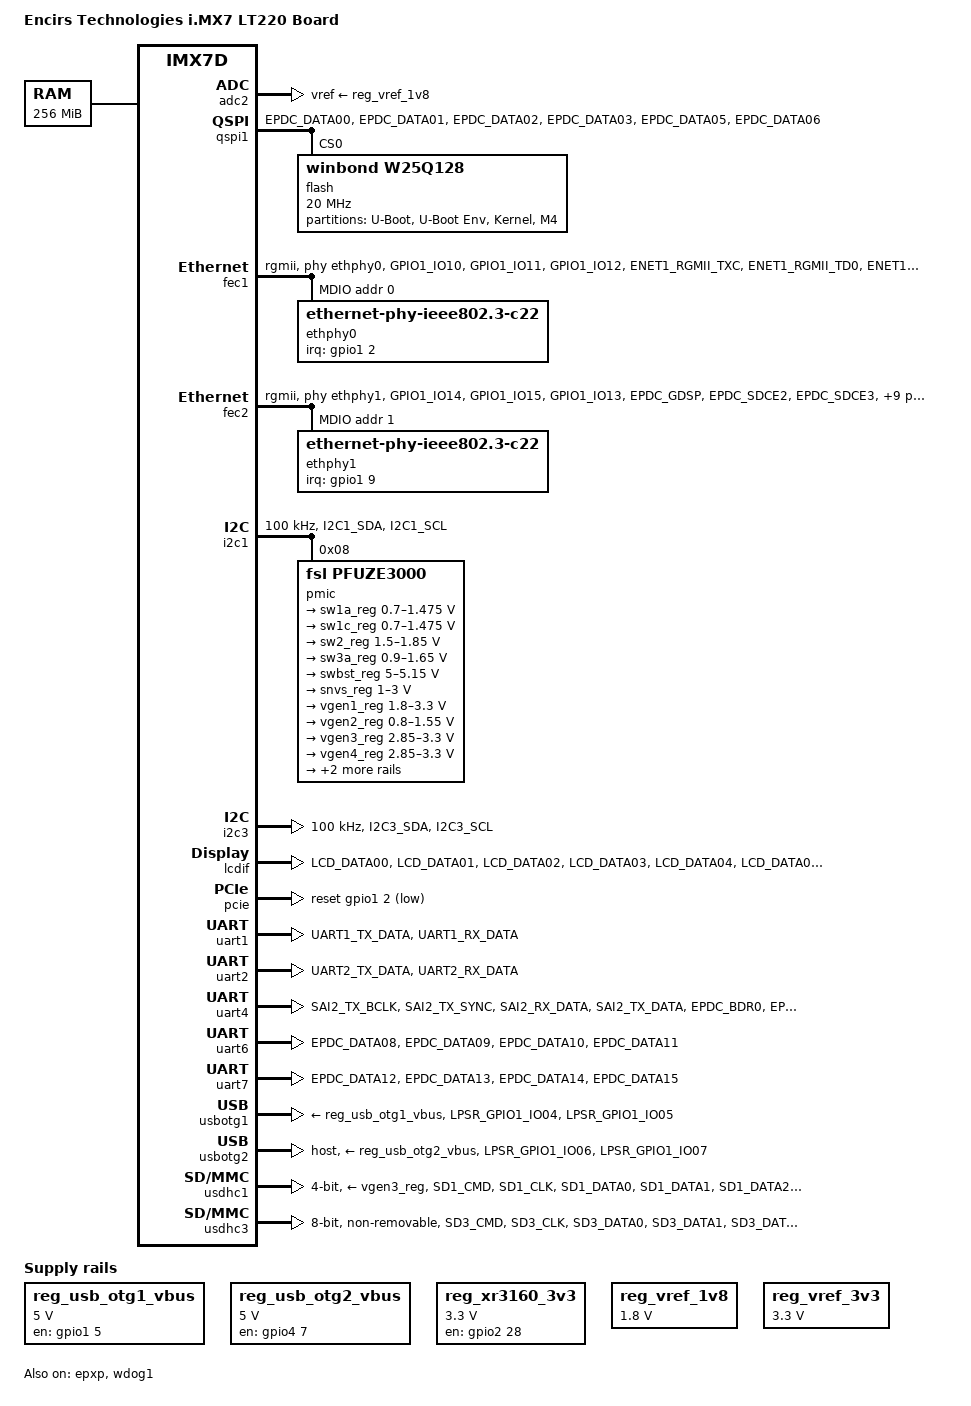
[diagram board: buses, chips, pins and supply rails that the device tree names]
/*
 * Copyright (C) 2017 Enciris Technologies, SAS.
 *
 * This program is free software; you can redistribute it and/or modify
 * it under the terms of the GNU General Public License version 2 as
 * published by the Free Software Foundation.
 */

/dts-v1/;

#include "imx7d.dtsi"

/ {
	model = "Encirs Technologies i.MX7 LT220 Board";
	compatible = "enciris,imx7d-lt220", "fsl,imx7d";

    /* DDR3L: 256MBytes */
	memory {
		reg = <0x80000000 0x10000000>;
	};
	
	regulators {
		compatible = "simple-bus";
		#address-cells = <1>;
		#size-cells = <0>;
		
		/* enable USB OTG1 on SP2526A-1: active high */
		reg_usb_otg1_vbus: regulator@0 {
			compatible = "regulator-fixed";
			reg = <0>;
			regulator-name = "usb_otg1_vbus";
			regulator-min-microvolt = <5000000>;
			regulator-max-microvolt = <5000000>;
			gpio = <&gpio1 5 GPIO_ACTIVE_HIGH>;		/* GPIO1_IO05 - USB_OTG1_PWR */
			enable-active-high;
		};

		/* enable USB OTG2 on SP2526A-1: active high */
		reg_usb_otg2_vbus: regulator@1 {
			compatible = "regulator-fixed";
			reg = <1>;
			regulator-name = "usb_otg2_vbus";
			regulator-min-microvolt = <5000000>;
			regulator-max-microvolt = <5000000>;
			gpio = <&gpio4 7 GPIO_ACTIVE_HIGH>;		/*  GPIO1_IO07 - USB_OTG2_PWR */
			startup-delay-us = <200000>;
			enable-active-high;
		};

		/* enable transceiver XR3160: active high */
		reg_xr3160_3v3: regulator@2 {
		    compatible = "regulator-fixed";
		    regulator-name = "xr3160_3v3";
		    regulator-min-microvolt = <3300000>;
		    regulator-max-microvolt = <3300000>;
		    gpio = <&gpio2 28 GPIO_ACTIVE_HIGH>;	/* GPIO2_IO28 - EPDC_BDR0 - MXU1_SHDW# */
		    enable-active-high;
	   };

		/* supply for adcs on i.MX7D */
		reg_vref_1v8: regulator@3 {
			compatible = "regulator-fixed";
			regulator-name = "vref-1v8";
			regulator-min-microvolt = <1800000>;
			regulator-max-microvolt = <1800000>;
		};

		/* supply for lcd on i.MX7D */
		reg_vref_3v3: regulator@4 {
			compatible = "regulator-fixed";
			regulator-name = "vref-3v3";
			regulator-min-microvolt = <3300000>;
			regulator-max-microvolt = <3300000>;
		};
	};
};

/* analog to digital converter 1: no need to enable */
&adc1 {
	vref-supply = <&reg_vref_1v8>;
	status = "disabled";
};

/* analog to digital converter 2: enable, we have the BAT_MEASURE */
&adc2 {
	vref-supply = <&reg_vref_1v8>;
	status = "okay";
};

/* add supply from PMIC to cpu0 */
&cpu0 {
	arm-supply = <&sw1a_reg>;
};

/* not clear what is this */
&clks {
	assigned-clocks = <&clks IMX7D_PLL_AUDIO_POST_DIV>;
	assigned-clock-rates = <884736000>;
};

/* Pixel Pipeline */
&epxp {
	status = "okay";
};


/* node qspi */
&qspi1 {
	pinctrl-names = "default";
	pinctrl-0 = <&pinctrl_flash>;
	status = "okay";

	flash: m25p80@0 {
		compatible = "winbond,w25q128";
		spi-max-frequency = <20000000>;
		reg = <0>;
		#address-cells = <1>;
		#size-cells = <1>;
		partition@0 {
			label = "U-Boot";
			reg = <0x0 0xC0000>;
			read-only;
		};
		partition@C0000 {
			label = "U-Boot Env";
			reg = <0xC0000 0x2000>;
			read-only;
		};
		partition@C2000 {
			label = "Kernel";
			reg = <0xC2000 0x11e000>;
		};
		partition@1E0000 {
			label = "M4";
			reg = <0x1E0000 0x20000>;
		};
	};
};


/* node fec1 (fast ethernet controller 1) defined on imx7s.dtsi */
&fec1 {
	pinctrl-names = "default";
	pinctrl-0 = <&pinctrl_enet1>;
	phy-reset-gpios = <&gpio1 3 GPIO_ACTIVE_HIGH>;		/* GPIO1_IO03 - ENET_RST_B */
	assigned-clocks = <&clks IMX7D_ENET1_TIME_ROOT_SRC>,
			  <&clks IMX7D_ENET1_TIME_ROOT_CLK>;
	assigned-clock-parents = <&clks IMX7D_PLL_ENET_MAIN_100M_CLK>;
	assigned-clock-rates = <0>, <100000000>;
	phy-mode = "rgmii";
	phy-handle = <&ethphy0>;
	fsl,magic-packet;
	status = "okay";

	mdio {
		#address-cells = <1>;
		#size-cells = <0>;

		ethphy0: ethernet-phy@0 {
			// compatible = "ethernet-phy-id004D.D072";	/* use if phy does not respond */
			compatible = "ethernet-phy-ieee802.3-c22";
			reg = <0>;									/* id number for the phy */
			interrupts-extended = <&gpio1 2 IRQ_TYPE_LEVEL_LOW>;
		};
		
	};
};

/* node fec2 (fast ethernet controller 2) defined on imx7d.dtsi */
&fec2 {
	pinctrl-names = "default";
	pinctrl-0 = <&pinctrl_enet2>;
	assigned-clocks = <&clks IMX7D_ENET2_TIME_ROOT_SRC>,
			  <&clks IMX7D_ENET2_TIME_ROOT_CLK>;
	assigned-clock-parents = <&clks IMX7D_PLL_ENET_MAIN_100M_CLK>;
	assigned-clock-rates = <0>, <100000000>;
	phy-mode = "rgmii";
	phy-handle = <&ethphy1>;
	fsl,magic-packet;
	status = "okay";
	
	mdio {
		#address-cells = <1>;
		#size-cells = <0>;
		
		ethphy1: ethernet-phy@1 {
			// compatible = "ethernet-phy-id004D.D072";	/* use if phy does not respond */
			compatible = "ethernet-phy-ieee802.3-c22";
			reg = <1>;									/* id number for the phy */
			interrupts-extended = <&gpio1 9 IRQ_TYPE_LEVEL_LOW>;
		};

	};
};


/* only PMIC on i2c1 */
&i2c1 {
	clock-frequency = <100000>;
	pinctrl-names = "default";
	pinctrl-0 = <&pinctrl_i2c1>;
	status = "okay";

	pmic: pfuze3000@08 {
		compatible = "fsl,pfuze3000";
		reg = <0x08>;

		regulators {
			sw1a_reg: sw1a {
				regulator-min-microvolt = <700000>;
				regulator-max-microvolt = <1475000>;
				regulator-boot-on;
				regulator-always-on;
				regulator-ramp-delay = <6250>;
			};

			/* use sw1c_reg to align with pfuze100/pfuze200 */
			sw1c_reg: sw1b {
				regulator-min-microvolt = <700000>;
				regulator-max-microvolt = <1475000>;
				regulator-boot-on;
				regulator-always-on;
				regulator-ramp-delay = <6250>;
			};

			sw2_reg: sw2 {
				regulator-min-microvolt = <1500000>;
				regulator-max-microvolt = <1850000>;
				regulator-boot-on;
				regulator-always-on;
			};

			sw3a_reg: sw3 {
				regulator-min-microvolt = <900000>;
				regulator-max-microvolt = <1650000>;
				regulator-boot-on;
				regulator-always-on;
			};

			swbst_reg: swbst {
				regulator-min-microvolt = <5000000>;
				regulator-max-microvolt = <5150000>;
			};

			snvs_reg: vsnvs {
				regulator-min-microvolt = <1000000>;
				regulator-max-microvolt = <3000000>;
				regulator-boot-on;
				regulator-always-on;
			};

			vref_reg: vrefddr {
				regulator-boot-on;
				regulator-always-on;
			};

			vgen1_reg: vldo1 {
				regulator-min-microvolt = <1800000>;
				regulator-max-microvolt = <3300000>;
				regulator-always-on;
			};

			vgen2_reg: vldo2 {
				regulator-min-microvolt = <800000>;
				regulator-max-microvolt = <1550000>;
				regulator-always-on;
			};

			vgen3_reg: vccsd {
				regulator-min-microvolt = <2850000>;
				regulator-max-microvolt = <3300000>;
				regulator-always-on;
			};

			vgen4_reg: v33 {
				regulator-min-microvolt = <2850000>;
				regulator-max-microvolt = <3300000>;
				regulator-always-on;
			};

			vgen5_reg: vldo3 {
				regulator-min-microvolt = <1800000>;
				regulator-max-microvolt = <3300000>;
				regulator-always-on;
			};

			vgen6_reg: vldo4 {
				regulator-min-microvolt = <1800000>;
				regulator-max-microvolt = <3300000>;
				regulator-always-on;
			};
		};
	};
};

/* status = disabled - not used on LT220 */
&i2c2 {
	clock-frequency = <100000>;
	pinctrl-names = "default";
	pinctrl-0 = <&pinctrl_i2c2>;
	status = "disabled";
};

/* DDC from HDMI connector on i2c3 */
&i2c3 {
	clock-frequency = <100000>;
	pinctrl-names = "default";
	pinctrl-0 = <&pinctrl_i2c3>;
	status = "okay";
};

/* status = disabled - not used on LT220 */
&i2c4 {
	clock-frequency = <100000>;
	pinctrl-names = "default";
	pinctrl-0 = <&pinctrl_i2c4>;
	status = "disabled";
};

/* may need to be changed to adpat to FPGA ECP3-150 */
&lcdif {
	pinctrl-names = "default";
	pinctrl-0 = <&pinctrl_lcdif_dat
		     &pinctrl_lcdif_ctrl>;
	lcd-supply = <&reg_vref_3v3>;
	display = <&display0>;
	status = "okay";

	display0: display {
		bits-per-pixel = <16>;
		bus-width = <24>;

		display-timings {
			native-mode = <&timing0>;
			timing0: timing0 {
			clock-frequency = <9200000>;
			hactive = <480>;
			vactive = <272>;
			hfront-porch = <8>;
			hback-porch = <4>;
			hsync-len = <41>;
			vback-porch = <2>;
			vfront-porch = <4>;
			vsync-len = <10>;

			hsync-active = <0>;
			vsync-active = <0>;
			de-active = <1>;
			pixelclk-active = <0>;
			};
		};
	};
};


/* PCIe */
&pcie {
	pinctrl-names = "default";
	reset-gpio = <&gpio1 2 GPIO_ACTIVE_LOW>;
	status = "okay";
};


/* Smart Direct Memory Access SDMA */
&sdma {
	status = "okay";
};


/* debug UART for Cortex-A7 */
&uart1 {
	pinctrl-names = "default";
	pinctrl-0 = <&pinctrl_uart1>;
	assigned-clocks = <&clks IMX7D_UART1_ROOT_SRC>;
	assigned-clock-parents = <&clks IMX7D_OSC_24M_CLK>;
	status = "okay";
};

/* debug UART for Cortex-M4 - general purpose UART */
&uart2 {
	pinctrl-names = "default";
	pinctrl-0 = <&pinctrl_uart2>;
	assigned-clocks = <&clks IMX7D_UART2_ROOT_SRC>;
	assigned-clock-parents = <&clks IMX7D_OSC_24M_CLK>;
	status = "okay";
};

/* rs232 / rs485 / rs422 for */
&uart4 {
	pinctrl-names = "default";
	pinctrl-0 = <&pinctrl_uart4>;
	assigned-clocks = <&clks IMX7D_UART4_ROOT_SRC>;
	assigned-clock-parents = <&clks IMX7D_PLL_SYS_MAIN_240M_CLK>;
	fsl,uart-has-rtscts;
	status = "okay";
};

/* connected to FT230X - UART-USB */
&uart6 {
	pinctrl-names = "default";
	pinctrl-0 = <&pinctrl_uart6>;
	assigned-clocks = <&clks IMX7D_UART6_ROOT_SRC>;
	assigned-clock-parents = <&clks IMX7D_PLL_SYS_MAIN_240M_CLK>;
	fsl,uart-has-rtscts;
	status = "okay";
};

/* connected to FT230X - UART-USB */
&uart7 {
	pinctrl-names = "default";
	pinctrl-0 = <&pinctrl_uart7>;
	assigned-clocks = <&clks IMX7D_UART7_ROOT_SRC>;
	assigned-clock-parents = <&clks IMX7D_PLL_SYS_MAIN_240M_CLK>;
	fsl,uart-has-rtscts;
	status = "okay";
};

/* USB OTG1 - microUSB If dr_mode is not specified, defaults to otg */
&usbotg1 {
	vbus-supply = <&reg_usb_otg1_vbus>;
	pinctrl-names = "default";
	pinctrl-0 = <&pinctrl_usbotg1>;
	status = "okay";
};

/* USB OTG2 - as host If dr_mode is not specified, defaults to otg */
&usbotg2 {
	vbus-supply = <&reg_usb_otg2_vbus>;
	pinctrl-names = "default";
	pinctrl-0 = <&pinctrl_usbotg2>;
	dr_mode = "host";
	status = "okay";
};

/* Ultra Secured Digital Host Controller - uSD Card */
/* 3 different states */
&usdhc1 {
	pinctrl-names = "default", "state_100mhz", "state_200mhz";
	pinctrl-0 = <&pinctrl_usdhc1>, <&pinctrl_usdhc1_gpio>;
	pinctrl-1 = <&pinctrl_usdhc1_100mhz>, <&pinctrl_usdhc1_gpio>;
	pinctrl-2 = <&pinctrl_usdhc1_200mhz>, <&pinctrl_usdhc1_gpio>;
	cd-gpios = <&gpio5 0 GPIO_ACTIVE_LOW>;
	wp-gpios = <&gpio5 1 GPIO_ACTIVE_LOW>;	/* from a jumper */
	vmmc-supply = <&vgen3_reg>;
	bus-width = <4>;
	fsl,tuning-step = <2>;
	wakeup-source;
	keep-power-in-suspend;
	status = "okay";
};

/* not used on LT22x family boards - status = disabled */
/*
&usdhc2 {
	#address-cells = <1>;
	#size-cells = <0>;
	pinctrl-names = "default";
	pinctrl-0 = <&pinctrl_usdhc2>;
	bus-width = <4>;
	non-removable;
	vmmc-supply = <&reg_wlan>;
	cap-power-off-card;
	keep-power-in-suspend;
	status = "disabled";
};
*/


/* eMMC */
&usdhc3 {
	pinctrl-names = "default";
	pinctrl-0 = <&pinctrl_usdhc3>;
	pinctrl-1 = <&pinctrl_usdhc3_100mhz>;
	pinctrl-2 = <&pinctrl_usdhc3_200mhz>;
	assigned-clocks = <&clks IMX7D_USDHC3_ROOT_CLK>;
	assigned-clock-rates = <400000000>;
	bus-width = <8>;
	fsl,tuning-step = <2>;
	non-removable;
	status = "okay";
};

/* watchdog and watchdog pin */
&wdog1 {
	pinctrl-names = "default";
	pinctrl-0 = <&pinctrl_wdog1>;
	status = "okay";
};


/* select pins/pingroups */
&iomuxc {
	pinctrl-names = "default";
	pinctrl-0 = <&pinctrl_hog_1>;

	/* not clear what is this */
	pinctrl_hog_1: hoggrp-1 {
		fsl,pins = <
			MX7D_PAD_SD3_RESET_B__GPIO6_IO11	0x5d	/* SD_RESET_B - 47k PU */
			MX7D_PAD_ECSPI2_MISO__GPIO4_IO22	0x7d	/* INT PMIC - 100k PU */
			MX7D_PAD_GPIO1_IO09__GPIO1_IO9		0x7d	/* INT ENET2 */
		>;
	};

	/* ethernet 1 group */
	pinctrl_enet1: enet1grp {
		fsl,pins = <
			MX7D_PAD_GPIO1_IO10__ENET1_MDIO					0x3		/* 100k PD - Pull dis - Hyst dis - Slew Fast - Drive 3*/
			MX7D_PAD_GPIO1_IO11__ENET1_MDC					0x3
			MX7D_PAD_GPIO1_IO12__CCM_ENET_REF_CLK1			0x3
			MX7D_PAD_ENET1_RGMII_TXC__ENET1_RGMII_TXC		0x71
			MX7D_PAD_ENET1_RGMII_TD0__ENET1_RGMII_TD0		0x71
			MX7D_PAD_ENET1_RGMII_TD1__ENET1_RGMII_TD1		0x71
			MX7D_PAD_ENET1_RGMII_TD2__ENET1_RGMII_TD2		0x71
			MX7D_PAD_ENET1_RGMII_TD3__ENET1_RGMII_TD3		0x71
			MX7D_PAD_ENET1_RGMII_TX_CTL__ENET1_RGMII_TX_CTL	0x71
			MX7D_PAD_ENET1_RGMII_RXC__ENET1_RGMII_RXC		0x71
			MX7D_PAD_ENET1_RGMII_RD0__ENET1_RGMII_RD0		0x11
			MX7D_PAD_ENET1_RGMII_RD1__ENET1_RGMII_RD1		0x11
			MX7D_PAD_ENET1_RGMII_RD2__ENET1_RGMII_RD2		0x11
			MX7D_PAD_ENET1_RGMII_RD3__ENET1_RGMII_RD3		0x71
			MX7D_PAD_ENET1_RGMII_RX_CTL__ENET1_RGMII_RX_CTL	0x11
		>;
	};

	/* ethernet 2 group */
	pinctrl_enet2: enet2grp {
		fsl,pins = <
			MX7D_PAD_GPIO1_IO14__ENET2_MDIO				0x3
			MX7D_PAD_GPIO1_IO15__ENET2_MDC				0x3
			MX7D_PAD_GPIO1_IO13__CCM_ENET_REF_CLK2		0x3
			MX7D_PAD_EPDC_GDSP__ENET2_RGMII_TXC			0x71
			MX7D_PAD_EPDC_SDCE2__ENET2_RGMII_TD0		0x71
			MX7D_PAD_EPDC_SDCE3__ENET2_RGMII_TD1		0x71
			MX7D_PAD_EPDC_GDCLK__ENET2_RGMII_TD2		0x71
			MX7D_PAD_EPDC_GDOE__ENET2_RGMII_TD3			0x71
			MX7D_PAD_EPDC_GDRL__ENET2_RGMII_TX_CTL		0x71
			MX7D_PAD_EPDC_SDCE1__ENET2_RGMII_RXC		0x71
			MX7D_PAD_EPDC_SDCLK__ENET2_RGMII_RD0		0x71
			MX7D_PAD_EPDC_SDLE__ENET2_RGMII_RD1			0x71
			MX7D_PAD_EPDC_SDOE__ENET2_RGMII_RD2			0x71
			MX7D_PAD_EPDC_SDSHR__ENET2_RGMII_RD3		0x71
			MX7D_PAD_EPDC_SDCE0__ENET2_RGMII_RX_CTL		0x71
		>;
	};

	/* i2c 1 group */
	pinctrl_i2c1: i2c1grp {
		fsl,pins = <
			MX7D_PAD_I2C1_SDA__I2C1_SDA		0x4000007f
			MX7D_PAD_I2C1_SCL__I2C1_SCL		0x4000007f
		>;
	};

	/* i2c 2 group - disabled */
	pinctrl_i2c2: i2c2grp {
		fsl,pins = <
			MX7D_PAD_I2C2_SDA__I2C2_SDA		0x4000007f
			MX7D_PAD_I2C2_SCL__I2C2_SCL		0x4000007f
		>;
	};

	/* i2c 3 group */
	pinctrl_i2c3: i2c3grp {
		fsl,pins = <
			MX7D_PAD_I2C3_SDA__I2C3_SDA		0x4000007f
			MX7D_PAD_I2C3_SCL__I2C3_SCL		0x4000007f
		>;
	};

	/* i2c 4 group - disabled */
	pinctrl_i2c4: i2c4grp {
		fsl,pins = <
			MX7D_PAD_I2C4_SDA__I2C4_SDA		0x4000007f
			MX7D_PAD_I2C4_SCL__I2C4_SCL		0x4000007f
		>;
	};

	/* lcd data */
	pinctrl_lcdif_dat: lcdifdatgrp {
		fsl,pins = <
			MX7D_PAD_LCD_DATA00__LCD_DATA0		0x79
			MX7D_PAD_LCD_DATA01__LCD_DATA1		0x79
			MX7D_PAD_LCD_DATA02__LCD_DATA2		0x79
			MX7D_PAD_LCD_DATA03__LCD_DATA3		0x79
			MX7D_PAD_LCD_DATA04__LCD_DATA4		0x79
			MX7D_PAD_LCD_DATA05__LCD_DATA5		0x79
			MX7D_PAD_LCD_DATA06__LCD_DATA6		0x79
			MX7D_PAD_LCD_DATA07__LCD_DATA7		0x79
			MX7D_PAD_LCD_DATA08__LCD_DATA8		0x79
			MX7D_PAD_LCD_DATA09__LCD_DATA9		0x79
			MX7D_PAD_LCD_DATA10__LCD_DATA10		0x79
			MX7D_PAD_LCD_DATA11__LCD_DATA11		0x79
			MX7D_PAD_LCD_DATA12__LCD_DATA12		0x79
			MX7D_PAD_LCD_DATA13__LCD_DATA13		0x79
			MX7D_PAD_LCD_DATA14__LCD_DATA14		0x79
			MX7D_PAD_LCD_DATA15__LCD_DATA15		0x79
			MX7D_PAD_LCD_DATA16__LCD_DATA16		0x79
			MX7D_PAD_LCD_DATA17__LCD_DATA17		0x79
			MX7D_PAD_LCD_DATA18__LCD_DATA18		0x79
			MX7D_PAD_LCD_DATA19__LCD_DATA19		0x79
			MX7D_PAD_LCD_DATA20__LCD_DATA20		0x79
			MX7D_PAD_LCD_DATA21__LCD_DATA21		0x79
			MX7D_PAD_LCD_DATA22__LCD_DATA22		0x79
			MX7D_PAD_LCD_DATA23__LCD_DATA23		0x79
		>;
	};

	/* lcd control */
	pinctrl_lcdif_ctrl: lcdifctrlgrp {
		fsl,pins = <
			MX7D_PAD_LCD_CLK__LCD_CLK			0x79
			MX7D_PAD_LCD_ENABLE__LCD_ENABLE		0x79
			MX7D_PAD_LCD_VSYNC__LCD_VSYNC		0x79
			MX7D_PAD_LCD_HSYNC__LCD_HSYNC		0x79
		>;
	};

	/* UART1: Cortex-A7 debug UART TX-RX */
	pinctrl_uart1: uart1grp {
		fsl,pins = <
			MX7D_PAD_UART1_TX_DATA__UART1_DCE_TX	0x79
			MX7D_PAD_UART1_RX_DATA__UART1_DCE_RX	0x79
		>;
	};

	/* UART2: Cortex-M4 debug UART TX-RX */
	pinctrl_uart2: uart2grp {
		fsl,pins = <
			MX7D_PAD_UART2_TX_DATA__UART2_DCE_TX	0x79
			MX7D_PAD_UART2_RX_DATA__UART2_DCE_RX	0x79
		>;
	};


	/* UART4: rs232 - rs485/422  Defined here pins for transceiver xr3160 control */
	/* Maybe the GPIOs should be apart - we'll see */
	pinctrl_uart4: uart4grp {
		fsl,pins = <
			MX7D_PAD_SAI2_TX_BCLK__UART4_DCE_TX		0x79
			MX7D_PAD_SAI2_TX_SYNC__UART4_DCE_RX		0x79
			MX7D_PAD_SAI2_RX_DATA__UART4_DCE_CTS	0x79
			MX7D_PAD_SAI2_TX_DATA__UART2_DCE_RTS	0x79
			MX7D_PAD_EPDC_BDR0__GPIO2_IO28			0x7d	/* SHDW_B */
			MX7D_PAD_EPDC_BDR1__GPIO2_IO29			0x7d	/* SLEW */
			MX7D_PAD_EPDC_PWR_COM__GPIO2_IO30		0x7d	/* RS485 - RS232 */
			MX7D_PAD_EPDC_PWR_STAT__GPIO2_IO31		0x7d	/* HALF - FULL */
		>;
	};

	/* uart6 - FT230X to USER connector */
	pinctrl_uart6: uart6grp {
		fsl,pins = <
			MX7D_PAD_EPDC_DATA08__UART6_DCE_RX	0x79
			MX7D_PAD_EPDC_DATA09__UART6_DCE_TX	0x79
			MX7D_PAD_EPDC_DATA10__UART6_DCE_RTS	0x79
			MX7D_PAD_EPDC_DATA11__UART6_DCE_CTS	0x79
		>;
	};

	/* uart7 - FT230X to USER connector */
	pinctrl_uart7: uart7grp {
		fsl,pins = <
			MX7D_PAD_EPDC_DATA12__UART7_DCE_RX	0x79
			MX7D_PAD_EPDC_DATA13__UART7_DCE_TX	0x79
			MX7D_PAD_EPDC_DATA14__UART7_DCE_RTS	0x79
			MX7D_PAD_EPDC_DATA15__UART7_DCE_CTS	0x79
		>;
	};

	/* SD Card */
	pinctrl_usdhc1_gpio: usdhc1_gpiogrp {
		fsl,pins = <
			MX7D_PAD_SD1_CD_B__GPIO5_IO0		0x59 /* CD */
			MX7D_PAD_SD1_WP__GPIO5_IO1			0x59 /* WP */
			MX7D_PAD_GPIO1_IO08__SD1_VSELECT	0x59 /* VSELECT */
		>;
	};

	pinctrl_usdhc1: usdhc1grp {
		fsl,pins = <
			MX7D_PAD_SD1_CMD__SD1_CMD			0x59
			MX7D_PAD_SD1_CLK__SD1_CLK			0x19
			MX7D_PAD_SD1_DATA0__SD1_DATA0		0x59
			MX7D_PAD_SD1_DATA1__SD1_DATA1		0x59
			MX7D_PAD_SD1_DATA2__SD1_DATA2		0x59
			MX7D_PAD_SD1_DATA3__SD1_DATA3		0x59
		>;
	};

	pinctrl_usdhc1_100mhz: usdhc1grp_100mhz {
		fsl,pins = <
			MX7D_PAD_SD1_CMD__SD1_CMD			0x5a
			MX7D_PAD_SD1_CLK__SD1_CLK			0x1a
			MX7D_PAD_SD1_DATA0__SD1_DATA0		0x5a
			MX7D_PAD_SD1_DATA1__SD1_DATA1		0x5a
			MX7D_PAD_SD1_DATA2__SD1_DATA2		0x5a
			MX7D_PAD_SD1_DATA3__SD1_DATA3		0x5a
		>;
	};

	pinctrl_usdhc1_200mhz: usdhc1grp_200mhz {
		fsl,pins = <
			MX7D_PAD_SD1_CMD__SD1_CMD			0x5b
			MX7D_PAD_SD1_CLK__SD1_CLK			0x1b
			MX7D_PAD_SD1_DATA0__SD1_DATA0		0x5b
			MX7D_PAD_SD1_DATA1__SD1_DATA1		0x5b
			MX7D_PAD_SD1_DATA2__SD1_DATA2		0x5b
			MX7D_PAD_SD1_DATA3__SD1_DATA3		0x5b
		>;
	};



	/* eMMC */
	/* 3 states */
	pinctrl_usdhc3: usdhc3grp {
		fsl,pins = <
			MX7D_PAD_SD3_CMD__SD3_CMD			0x59
			MX7D_PAD_SD3_CLK__SD3_CLK			0x19
			MX7D_PAD_SD3_DATA0__SD3_DATA0		0x59
			MX7D_PAD_SD3_DATA1__SD3_DATA1		0x59
			MX7D_PAD_SD3_DATA2__SD3_DATA2		0x59
			MX7D_PAD_SD3_DATA3__SD3_DATA3		0x59
			MX7D_PAD_SD3_DATA4__SD3_DATA4		0x59
			MX7D_PAD_SD3_DATA5__SD3_DATA5		0x59
			MX7D_PAD_SD3_DATA6__SD3_DATA6		0x59
			MX7D_PAD_SD3_DATA7__SD3_DATA7		0x59
			MX7D_PAD_SD3_STROBE__SD3_STROBE		0x19
		>;
	};
	
	pinctrl_usdhc3_100mhz: usdhc3grp_100mhz {
		fsl,pins = <
			MX7D_PAD_SD3_CMD__SD3_CMD			0x5a
			MX7D_PAD_SD3_CLK__SD3_CLK			0x1a
			MX7D_PAD_SD3_DATA0__SD3_DATA0		0x5a
			MX7D_PAD_SD3_DATA1__SD3_DATA1		0x5a
			MX7D_PAD_SD3_DATA2__SD3_DATA2		0x5a
			MX7D_PAD_SD3_DATA3__SD3_DATA3		0x5a
			MX7D_PAD_SD3_DATA4__SD3_DATA4		0x5a
			MX7D_PAD_SD3_DATA5__SD3_DATA5		0x5a
			MX7D_PAD_SD3_DATA6__SD3_DATA6		0x5a
			MX7D_PAD_SD3_DATA7__SD3_DATA7		0x5a
			MX7D_PAD_SD3_STROBE__SD3_STROBE		0x1a
		>;
	};

	pinctrl_usdhc3_200mhz: usdhc3grp_200mhz {
		fsl,pins = <
			MX7D_PAD_SD3_CMD__SD3_CMD			0x5b
			MX7D_PAD_SD3_CLK__SD3_CLK			0x1b
			MX7D_PAD_SD3_DATA0__SD3_DATA0		0x5b
			MX7D_PAD_SD3_DATA1__SD3_DATA1		0x5b
			MX7D_PAD_SD3_DATA2__SD3_DATA2		0x5b
			MX7D_PAD_SD3_DATA3__SD3_DATA3		0x5b
			MX7D_PAD_SD3_DATA4__SD3_DATA4		0x5b
			MX7D_PAD_SD3_DATA5__SD3_DATA5		0x5b
			MX7D_PAD_SD3_DATA6__SD3_DATA6		0x5b
			MX7D_PAD_SD3_DATA7__SD3_DATA7		0x5b
			MX7D_PAD_SD3_STROBE__SD3_STROBE		0x1b
		>;
	};
	
	/* QUAD SPI FLASH */
	pinctrl_flash: flashgrp {
		fsl,pins = <
			MX7D_PAD_EPDC_DATA00__QSPI_A_DATA0	0x71
			MX7D_PAD_EPDC_DATA01__QSPI_A_DATA1	0x71
			MX7D_PAD_EPDC_DATA02__QSPI_A_DATA2	0x71
			MX7D_PAD_EPDC_DATA03__QSPI_A_DATA3	0x71
			MX7D_PAD_EPDC_DATA05__QSPI_A_SCLK	0x71
			MX7D_PAD_EPDC_DATA06__QSPI_A_SS0_B	0x71
		>;
	};
};

&iomuxc_lpsr {
	pinctrl-names = "default";
	pinctrl-0 = <&pinctrl_hog_2>;

	pinctrl_hog_2: hoggrp-2 {
		fsl,pins = <
			MX7D_PAD_LPSR_GPIO1_IO01__GPIO1_IO1		0x7d	/* interrupt from ENET1 */
			MX7D_PAD_LPSR_GPIO1_IO02__GPIO1_IO2		0x7d	/* pcie reset */
			MX7D_PAD_LPSR_GPIO1_IO03__GPIO1_IO3		0x75	/* reset for the 2 AR8035 */
		>;
	};

	/* usb otg1 pins */
	pinctrl_usbotg1: usbotg1grp {
		fsl,pins = <
			MX7D_PAD_LPSR_GPIO1_IO04__USB_OTG1_OC	0x7d	/* usb 1 overcurrent */
			MX7D_PAD_LPSR_GPIO1_IO05__GPIO1_IO5		0x14	/* usb 1 power enable */
		>;
	};

	/* usb otg2 pins */
	pinctrl_usbotg2: usbotg2grp {
		fsl,pins = <
			MX7D_PAD_LPSR_GPIO1_IO06__USB_OTG2_OC	0x7d	/* usb 2 overcurrent */
			MX7D_PAD_LPSR_GPIO1_IO07__GPIO1_IO7		0x14	/* usb 2 power enable */
		>;
	};

	/* watchdog pin */
	pinctrl_wdog1: wdog1grp {
		fsl,pins = <
			MX7D_PAD_LPSR_GPIO1_IO00__WDOD1_WDOG_B	0x75	/* watchdog pin */
		>;
	};
};
